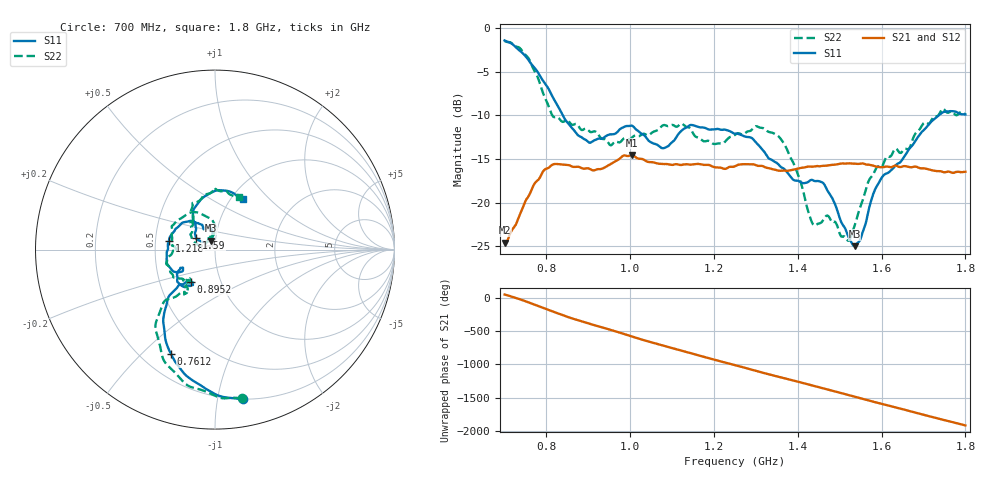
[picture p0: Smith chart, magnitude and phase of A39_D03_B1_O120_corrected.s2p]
! Created with skrf 1.9.0 (http://scikit-rf.org).
# Hz S RI R 50.0
!freq ReS11 ImS11 ReS21 ImS21 ReS12 ImS12 ReS22 ImS22
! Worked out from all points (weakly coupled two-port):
!   1601 points, 700 MHz to 1.8 GHz, reference 50 ohm
!   highest |S21| = -14.56 dB at 1.004 GHz (marker M1); lowest = -24.6 dB at 701.4 MHz (marker M2)
!   lowest |S11| = -25.0 dB at 1.535 GHz (marker M3), VSWR 1.12, Z = 47.4 + j4.81 ohm
!   |S11| at or under -10 dB: 838.6 MHz to 1.737 GHz (897.9 MHz wide, 69.7 % of centre)
!   |S22| runs from -24.4 to -1.5 dB; largest |S21 - S12| = 0.0035
!   S11 on the Smith chart (normalised r, x): 700 MHz: 0.20, -1.19; 761.2 MHz: 0.32, -0.62; 895.2 MHz: 0.72, -0.28; 1.218 GHz: 0.59, +0.06; 1.59 GHz: 0.80, +0.11; 1.8 GHz: 1.13, +0.71
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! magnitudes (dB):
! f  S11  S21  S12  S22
! 700 MHz  -1.4  -24.6  -24.4  -1.5
! 701.4 MHz  -1.5  -24.6  -24.2  -1.5
! 761.2 MHz  -4.0  -18.9  -18.8  -3.8
! 814.8 MHz  -7.9  -15.6  -15.7  -10.1
! 883.6 MHz  -12.5  -16.0  -15.9  -11.7
! 895.2 MHz  -12.9  -16.1  -16.2  -11.5
! 953 MHz  -12.2  -15.6  -15.6  -13.4
! 1.004 GHz  -11.2  -14.6  -14.7  -12.6
! 1.067 GHz  -13.5  -15.5  -15.5  -11.6
! 1.144 GHz  -11.1  -15.7  -15.6  -11.6
! 1.218 GHz  -11.7  -16.0  -16.1  -13.2
! 1.25 GHz  -12.1  -15.8  -15.8  -12.2
! 1.357 GHz  -15.8  -16.4  -16.3  -12.5
! 1.395 GHz  -17.5  -16.2  -16.2  -16.1
! 1.434 GHz  -17.4  -15.9  -15.9  -22.2
! 1.464 GHz  -18.0  -15.8  -15.8  -21.8
! 1.52 GHz  -23.8  -15.5  -15.5  -24.4
! 1.535 GHz  -25.0  -15.5  -15.5  -22.7
! 1.59 GHz  -18.0  -15.9  -15.9  -15.9
! 1.617 GHz  -16.5  -15.9  -15.9  -14.7
! 1.74 GHz  -9.9  -16.4  -16.4  -9.6
! 1.8 GHz  -9.9  -16.5  -16.5  -9.9
